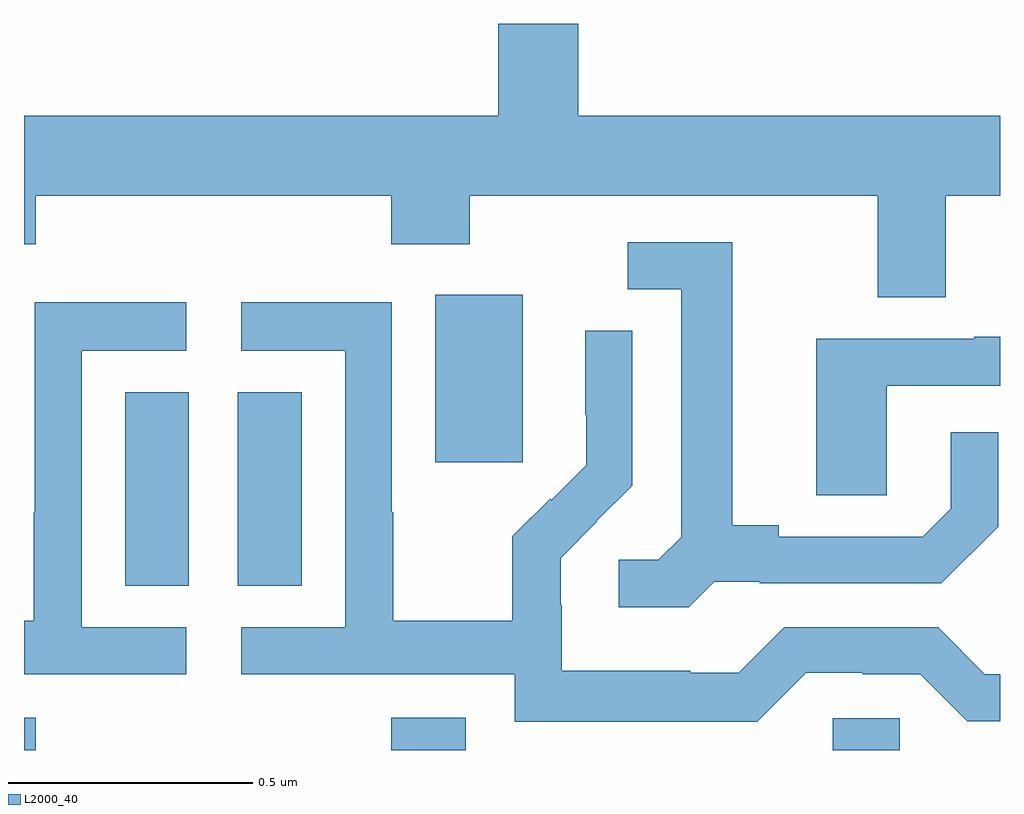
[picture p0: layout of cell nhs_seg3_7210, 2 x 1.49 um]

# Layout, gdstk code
import gdstk
lib = gdstk.Library(unit=1e-6, precision=1e-09)
def R(c, l, rs):  # rectangles x0, y0, x1, y1
    for r in rs: c.add(gdstk.rectangle(r[:2], r[2:], *l))
def P(c, l, *ps):  # polygons
    for p in ps: c.add(gdstk.Polygon(p, *l))
L2000_40 = (2000, 40)

nhs_seg3_7210 = lib.new_cell('nhs_seg3_7210')
R(nhs_seg3_7210, L2000_40, [(200,746.4,200.024,746.467), (200.753,746.4,200.905,746.467), (201.657,746.4,201.795,746.466), (200.207,746.737,200.338,747.134), (200.438,746.737,200.569,747.134), (200.843,746.99,201.022,747.334)])
P(nhs_seg3_7210, L2000_40, [(201.889,747.536),(202,747.536),(202,747.7),(201.136,747.7),(201.136,747.889),(200.972,747.889),(200.972,747.7),(200,747.7),(200,747.437),(200.024,747.437),(200.024,747.536),(200.753,747.536),(200.753,747.437),(200.913,747.437),(200.913,747.536),(201.749,747.536),(201.749,747.328),(201.889,747.328)],
  [(201.414,746.745),(201.508,746.745),(201.508,746.742),(201.88,746.742),(201.996,746.858),(201.996,747.052),(201.899,747.052),(201.899,746.895),(201.842,746.838),(201.547,746.838),(201.547,746.861),(201.451,746.861),(201.451,747.441),(201.237,747.441),(201.237,747.345),(201.347,747.345),(201.347,746.837),(201.3,746.79),(201.219,746.79),(201.219,746.693),(201.362,746.693)],
  [(200.332,746.652),(200.118,746.652),(200.118,747.219),(200.332,747.219),(200.332,747.318),(200.022,747.318),(200.022,746.888),(200.02,746.888),(200.02,746.665),(200,746.665),(200,746.556),(200.332,746.556)],
  [(201.603,746.559),(201.719,746.559),(201.719,746.556),(201.837,746.556),(201.933,746.46),(202,746.46),(202,746.556),(201.969,746.556),(201.873,746.652),(201.558,746.652),(201.465,746.559),(201.365,746.559),(201.365,746.563),(201.102,746.563),(201.102,746.697),(201.1,746.697),(201.1,746.794),(201.174,746.868),(201.173,746.869),(201.246,746.942),(201.246,747.26),(201.15,747.26),(201.15,747.088),(201.152,747.088),(201.152,746.984),(201.081,746.913),(201.078,746.916),(201.001,746.839),(201.001,746.665),(200.757,746.665),(200.757,746.888),(200.754,746.888),(200.754,747.318),(200.445,747.318),(200.445,747.219),(200.658,747.219),(200.658,746.652),(200.445,746.652),(200.445,746.556),(201.006,746.556),(201.006,746.459),(201.503,746.459)],
  [(201.768,747.147),(202,747.147),(202,747.247),(201.947,747.247),(201.947,747.243),(201.623,747.243),(201.623,746.923),(201.768,746.923)])

lib.write_gds('nhs_seg3_7210.gds')
